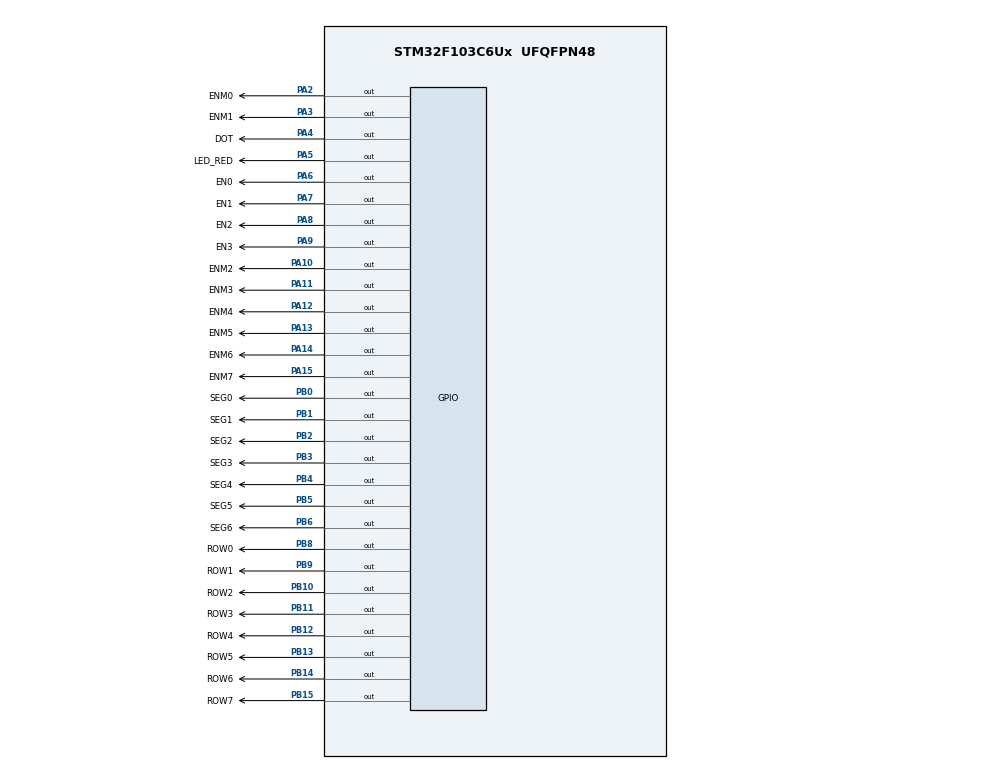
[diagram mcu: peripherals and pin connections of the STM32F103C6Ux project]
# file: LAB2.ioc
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Mcu.Family=STM32F1
Mcu.Name=STM32F103C6Ux
Mcu.Package=UFQFPN48
NVIC.PriorityGroup=NVIC_PRIORITYGROUP_4
NVIC.TIM2_IRQn=true\:0\:0\:false\:false\:true\:true\:true\:true
PA10.GPIO_Label=ENM2
PA10.Signal=GPIO_Output
PA11.GPIO_Label=ENM3
PA11.Signal=GPIO_Output
PA12.GPIO_Label=ENM4
PA12.Signal=GPIO_Output
PA13.GPIO_Label=ENM5
PA13.Signal=GPIO_Output
PA14.GPIO_Label=ENM6
PA14.Signal=GPIO_Output
PA15.GPIO_Label=ENM7
PA15.Signal=GPIO_Output
PA2.GPIO_Label=ENM0
PA2.Signal=GPIO_Output
PA3.GPIO_Label=ENM1
PA3.Signal=GPIO_Output
PA4.GPIO_Label=DOT
PA4.Signal=GPIO_Output
PA5.GPIO_Label=LED_RED
PA5.Signal=GPIO_Output
PA6.GPIO_Label=EN0
PA6.Signal=GPIO_Output
PA7.GPIO_Label=EN1
PA7.Signal=GPIO_Output
PA8.GPIO_Label=EN2
PA8.Signal=GPIO_Output
PA9.GPIO_Label=EN3
PA9.Signal=GPIO_Output
PB0.GPIO_Label=SEG0
PB0.Signal=GPIO_Output
PB1.GPIO_Label=SEG1
PB1.Signal=GPIO_Output
PB10.GPIO_Label=ROW2
PB10.Signal=GPIO_Output
PB11.GPIO_Label=ROW3
PB11.Signal=GPIO_Output
PB12.GPIO_Label=ROW4
PB12.Signal=GPIO_Output
PB13.GPIO_Label=ROW5
PB13.Signal=GPIO_Output
PB14.GPIO_Label=ROW6
PB14.Signal=GPIO_Output
PB15.GPIO_Label=ROW7
PB15.Signal=GPIO_Output
PB2.GPIO_Label=SEG2
PB2.Signal=GPIO_Output
PB3.GPIO_Label=SEG3
PB3.Signal=GPIO_Output
PB4.GPIO_Label=SEG4
PB4.Signal=GPIO_Output
PB5.GPIO_Label=SEG5
PB5.Signal=GPIO_Output
PB6.GPIO_Label=SEG6
PB6.Signal=GPIO_Output
PB8.GPIO_Label=ROW0
PB8.Signal=GPIO_Output
PB9.GPIO_Label=ROW1
PB9.Signal=GPIO_Output
ProjectManager.HeapSize=0x200
ProjectManager.StackSize=0x400
ProjectManager.TargetToolchain=STM32CubeIDE
RCC.APB1Freq_Value=8000000
RCC.APB2Freq_Value=8000000
TIM2.Period=9
TIM2.Prescaler=799
VP_TIM2_VS_ClockSourceINT.Mode=Internal
board=custom

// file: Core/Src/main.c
/* USER CODE BEGIN Header */
/**
  ******************************************************************************
  * @file           : main.c
  * @brief          : Main program body
  ******************************************************************************
  * @attention
  *
  * Copyright (c) 2022 STMicroelectronics.
  * All rights reserved.
  *
  * This software is licensed under terms that can be found in the LICENSE file
  * in the root directory of this software component.
  * If no LICENSE file comes with this software, it is provided AS-IS.
  *
  ******************************************************************************
  */
/* USER CODE END Header */
#include "main.h"

TIM_HandleTypeDef htim2;

void SystemClock_Config(void);
static void MX_GPIO_Init(void);
static void MX_TIM2_Init(void);
/* USER CODE BEGIN PFP */
void updateLEDMatrix ( int index );
void shiftbuffer();
/* USER CODE END PFP */

/* USER CODE BEGIN 0 */
int timer0_count = 0;
int timer0_flag = 0;

int timer1_count = 0;
int timer1_flag = 0;

int TIMER_CYCLE = 1;

void setTimer0(int duration){
	timer0_count = duration / TIMER_CYCLE;
	timer0_flag = 0;
}

void setTimer1(int duration){
	timer1_count = duration / TIMER_CYCLE;
	timer1_flag = 0;
}

void timer_run(){
	if (timer0_count > 0){
		timer0_count--;
		if (timer0_count <= 0){
			timer0_flag = 1;
		}
	}
	if (timer1_count > 0){
			timer1_count--;
			if (timer1_count <= 0){
				timer1_flag = 1;
			}
		}
}
/* USER CODE END 0 */

int main(void)
{

  /* MCU Configuration--------------------------------------------------------*/

  /* Reset of all peripherals, Initializes the Flash interface and the Systick. */
  HAL_Init();

  /* Configure the system clock */
  SystemClock_Config();

  /* Initialize all configured peripherals */
  MX_GPIO_Init();
  MX_TIM2_Init();
  /* USER CODE BEGIN 2 */
  HAL_TIM_Base_Start_IT(&htim2);
  /* USER CODE END 2 */

  /* Infinite loop */
  /* USER CODE BEGIN WHILE */
  int index_led_matrix = 0;
  setTimer0(2);
  setTimer1(151);
  while (1)
  {
	  if (timer0_flag == 1){
		  setTimer0(2);
		  updateLEDMatrix(index_led_matrix++);
		  	  	if (index_led_matrix > 7){
		  	  		  index_led_matrix = 0;
		  	  	}
	  }
	  if (timer1_flag == 1){
		  setTimer1(151);
		  shiftbuffer();
	  }
    /* USER CODE END WHILE */

  }
}

void SystemClock_Config(void)
{
  RCC_OscInitTypeDef RCC_OscInitStruct = {0};
  RCC_ClkInitTypeDef RCC_ClkInitStruct = {0};

  /** Initializes the RCC Oscillators according to the specified parameters
  * in the RCC_OscInitTypeDef structure.
  */
  RCC_OscInitStruct.OscillatorType = RCC_OSCILLATORTYPE_HSI;
  RCC_OscInitStruct.HSIState = RCC_HSI_ON;
  RCC_OscInitStruct.HSICalibrationValue = RCC_HSICALIBRATION_DEFAULT;
  RCC_OscInitStruct.PLL.PLLState = RCC_PLL_NONE;
  if (HAL_RCC_OscConfig(&RCC_OscInitStruct) != HAL_OK)
  {
    Error_Handler();
  }

  /** Initializes the CPU, AHB and APB buses clocks
  */
  RCC_ClkInitStruct.ClockType = RCC_CLOCKTYPE_HCLK|RCC_CLOCKTYPE_SYSCLK
                              |RCC_CLOCKTYPE_PCLK1|RCC_CLOCKTYPE_PCLK2;
  RCC_ClkInitStruct.SYSCLKSource = RCC_SYSCLKSOURCE_HSI;
  RCC_ClkInitStruct.AHBCLKDivider = RCC_SYSCLK_DIV1;
  RCC_ClkInitStruct.APB1CLKDivider = RCC_HCLK_DIV1;
  RCC_ClkInitStruct.APB2CLKDivider = RCC_HCLK_DIV1;

  if (HAL_RCC_ClockConfig(&RCC_ClkInitStruct, FLASH_LATENCY_0) != HAL_OK)
  {
    Error_Handler();
  }
}

static void MX_TIM2_Init(void)
{

  TIM_ClockConfigTypeDef sClockSourceConfig = {0};
  TIM_MasterConfigTypeDef sMasterConfig = {0};

  htim2.Instance = TIM2;
  htim2.Init.Prescaler = 799;
  htim2.Init.CounterMode = TIM_COUNTERMODE_UP;
  htim2.Init.Period = 9;
  htim2.Init.ClockDivision = TIM_CLOCKDIVISION_DIV1;
  htim2.Init.AutoReloadPreload = TIM_AUTORELOAD_PRELOAD_DISABLE;
  if (HAL_TIM_Base_Init(&htim2) != HAL_OK)
  {
    Error_Handler();
  }
  sClockSourceConfig.ClockSource = TIM_CLOCKSOURCE_INTERNAL;
  if (HAL_TIM_ConfigClockSource(&htim2, &sClockSourceConfig) != HAL_OK)
  {
    Error_Handler();
  }
  sMasterConfig.MasterOutputTrigger = TIM_TRGO_RESET;
  sMasterConfig.MasterSlaveMode = TIM_MASTERSLAVEMODE_DISABLE;
  if (HAL_TIMEx_MasterConfigSynchronization(&htim2, &sMasterConfig) != HAL_OK)
  {
    Error_Handler();
  }

}

static void MX_GPIO_Init(void)
{
  GPIO_InitTypeDef GPIO_InitStruct = {0};

  /* GPIO Ports Clock Enable */
  __HAL_RCC_GPIOA_CLK_ENABLE();
  __HAL_RCC_GPIOB_CLK_ENABLE();

  /*Configure GPIO pin Output Level */
  HAL_GPIO_WritePin(GPIOA, ENM0_Pin|ENM1_Pin|DOT_Pin|LED_RED_Pin
                          |EN0_Pin|EN1_Pin|EN2_Pin|EN3_Pin
                          |ENM2_Pin|ENM3_Pin|ENM4_Pin|ENM5_Pin
                          |ENM6_Pin|ENM7_Pin, GPIO_PIN_RESET);

  /*Configure GPIO pin Output Level */
  HAL_GPIO_WritePin(GPIOB, SEG0_Pin|SEG1_Pin|SEG2_Pin|ROW2_Pin
                          |ROW3_Pin|ROW4_Pin|ROW5_Pin|ROW6_Pin
                          |ROW7_Pin|SEG3_Pin|SEG4_Pin|SEG5_Pin
                          |SEG6_Pin|ROW0_Pin|ROW1_Pin, GPIO_PIN_RESET);

  /*Configure GPIO pins : ENM0_Pin ENM1_Pin DOT_Pin LED_RED_Pin
                           EN0_Pin EN1_Pin EN2_Pin EN3_Pin
                           ENM2_Pin ENM3_Pin ENM4_Pin ENM5_Pin
                           ENM6_Pin ENM7_Pin */
  GPIO_InitStruct.Pin = ENM0_Pin|ENM1_Pin|DOT_Pin|LED_RED_Pin
                          |EN0_Pin|EN1_Pin|EN2_Pin|EN3_Pin
                          |ENM2_Pin|ENM3_Pin|ENM4_Pin|ENM5_Pin
                          |ENM6_Pin|ENM7_Pin;
  GPIO_InitStruct.Mode = GPIO_MODE_OUTPUT_PP;
  GPIO_InitStruct.Pull = GPIO_NOPULL;
  GPIO_InitStruct.Speed = GPIO_SPEED_FREQ_LOW;
  HAL_GPIO_Init(GPIOA, &GPIO_InitStruct);

  /*Configure GPIO pins : SEG0_Pin SEG1_Pin SEG2_Pin ROW2_Pin
                           ROW3_Pin ROW4_Pin ROW5_Pin ROW6_Pin
                           ROW7_Pin SEG3_Pin SEG4_Pin SEG5_Pin
                           SEG6_Pin ROW0_Pin ROW1_Pin */
  GPIO_InitStruct.Pin = SEG0_Pin|SEG1_Pin|SEG2_Pin|ROW2_Pin
                          |ROW3_Pin|ROW4_Pin|ROW5_Pin|ROW6_Pin
                          |ROW7_Pin|SEG3_Pin|SEG4_Pin|SEG5_Pin
                          |SEG6_Pin|ROW0_Pin|ROW1_Pin;
  GPIO_InitStruct.Mode = GPIO_MODE_OUTPUT_PP;
  GPIO_InitStruct.Pull = GPIO_NOPULL;
  GPIO_InitStruct.Speed = GPIO_SPEED_FREQ_LOW;
  HAL_GPIO_Init(GPIOB, &GPIO_InitStruct);

}

/* USER CODE BEGIN 4 */

const int MAX_LED_MATRIX = 8;
int index_led_matrix = 0;
uint8_t matrix_buffer [8] = {0x00 , 0xfc , 0xfe , 0x12 , 0x12 , 0xfe , 0xfc , 0x00 };
void updateLEDMatrix ( int index ) {
	GPIOB->ODR = 0x00ff;
	switch (index){
		case 0:
			GPIOA->ODR = (matrix_buffer[0] << 8) | (matrix_buffer[0] << 2);
			GPIOB->ODR = 0x01ff;
			break;
		case 1:
			GPIOA->ODR = (matrix_buffer[1] << 8) | (matrix_buffer[1] << 2);
			GPIOB->ODR = 0x02ff;
			break;
		case 2:
			GPIOA->ODR = (matrix_buffer[2] << 8) | (matrix_buffer[2] << 2);
			GPIOB->ODR = 0x04ff;
			break;
		case 3:
			GPIOA->ODR = (matrix_buffer[3] << 8) | (matrix_buffer[3] << 2);
			GPIOB->ODR = 0x08ff;
			break;
		case 4:
			GPIOA->ODR = (matrix_buffer[4] << 8) | (matrix_buffer[4] << 2);
			GPIOB->ODR = 0x10ff;
			break;
		case 5:
			GPIOA->ODR = (matrix_buffer[5] << 8) | (matrix_buffer[5] << 2);
			GPIOB->ODR = 0x20ff;
			break;
		case 6:
			GPIOA->ODR = (matrix_buffer[6] << 8) | (matrix_buffer[6] << 2);
			GPIOB->ODR = 0x40ff;
			break;
		case 7:
			GPIOA->ODR = (matrix_buffer[7] << 8) | (matrix_buffer[7] << 2);
			GPIOB->ODR = 0x80ff;
			break;
		default:
			break;

	}
}

void shiftbuffer(){
	int temp = matrix_buffer[0];
	for (int i = 0; i <= 6 ; i++){
		matrix_buffer[i] = matrix_buffer[i+1];
	}
	matrix_buffer[7] = temp;
}

void HAL_TIM_PeriodElapsedCallback(TIM_HandleTypeDef *htim){
	timer_run();
}

/* USER CODE END 4 */

void Error_Handler(void)
{
  __disable_irq();
  while (1)
  {
  }
}
